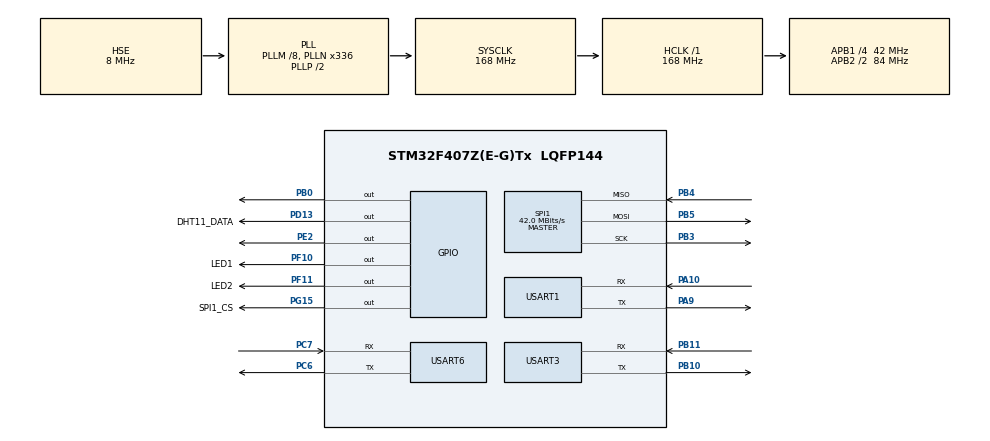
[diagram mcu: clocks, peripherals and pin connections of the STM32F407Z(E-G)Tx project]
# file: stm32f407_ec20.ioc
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Mcu.Family=STM32F4
Mcu.Name=STM32F407Z(E-G)Tx
Mcu.Package=LQFP144
NVIC.PriorityGroup=NVIC_PRIORITYGROUP_4
NVIC.USART1_IRQn=true\:0\:0\:false\:false\:true\:true\:true\:true
NVIC.USART3_IRQn=true\:0\:0\:false\:false\:true\:true\:true\:true
NVIC.USART6_IRQn=true\:0\:0\:false\:false\:true\:true\:true\:true
PA10.Mode=Asynchronous
PA10.Signal=USART1_RX
PA13.Mode=Serial_Wire
PA13.Signal=SYS_JTMS-SWDIO
PA14.Mode=Serial_Wire
PA14.Signal=SYS_JTCK-SWCLK
PA9.Mode=Asynchronous
PA9.Signal=USART1_TX
PB0.Signal=GPIO_Output
PB10.Mode=Asynchronous
PB10.Signal=USART3_TX
PB11.Mode=Asynchronous
PB11.Signal=USART3_RX
PB3.Mode=Full_Duplex_Master
PB3.Signal=SPI1_SCK
PB4.Mode=Full_Duplex_Master
PB4.Signal=SPI1_MISO
PB5.Mode=Full_Duplex_Master
PB5.Signal=SPI1_MOSI
PC6.Mode=Asynchronous
PC6.Signal=USART6_TX
PC7.Mode=Asynchronous
PC7.Signal=USART6_RX
PD13.GPIO_Label=DHT11_DATA
PD13.Signal=GPIO_Output
PE2.GPIO_PuPd=GPIO_PULLUP
PE2.Signal=GPIO_Output
PF10.GPIO_Label=LED1
PF10.Signal=GPIO_Output
PF11.GPIO_Label=LED2
PF11.Signal=GPIO_Output
PG15.GPIO_Label=SPI1_CS
PG15.Signal=GPIO_Output
PH0-OSC_IN.Mode=HSE-External-Oscillator
PH0-OSC_IN.Signal=RCC_OSC_IN
PH1-OSC_OUT.Mode=HSE-External-Oscillator
PH1-OSC_OUT.Signal=RCC_OSC_OUT
ProjectManager.HeapSize=0x1200
ProjectManager.StackSize=0x1400
ProjectManager.TargetToolchain=MDK-ARM V5
RCC.48MHZClocksFreq_Value=84000000
RCC.AHBFreq_Value=168000000
RCC.APB1CLKDivider=RCC_HCLK_DIV4
RCC.APB1Freq_Value=42000000
RCC.APB1TimFreq_Value=84000000
RCC.APB2CLKDivider=RCC_HCLK_DIV2
RCC.APB2Freq_Value=84000000
RCC.APB2TimFreq_Value=168000000
RCC.CortexFreq_Value=168000000
RCC.HCLKFreq_Value=168000000
RCC.HSE_VALUE=8000000
RCC.HSI_VALUE=16000000
RCC.LSE_VALUE=32768
RCC.PLLM=8
RCC.PLLN=336
RCC.PLLSourceVirtual=RCC_PLLSOURCE_HSE
RCC.SYSCLKFreq_VALUE=168000000
RCC.SYSCLKSource=RCC_SYSCLKSOURCE_PLLCLK
RCC.VCOOutputFreq_Value=336000000
RTC.Format=RTC_FORMAT_BIN
SPI1.CalculateBaudRate=42.0 MBits/s
SPI1.Direction=SPI_DIRECTION_2LINES
SPI1.Mode=SPI_MODE_MASTER
SPI1.VirtualType=VM_MASTER
USART1.VirtualMode=VM_ASYNC
USART3.VirtualMode=VM_ASYNC
USART6.VirtualMode=VM_ASYNC
VP_RTC_VS_RTC_Activate.Mode=RTC_Enabled
VP_RTC_VS_RTC_Calendar.Mode=RTC_Calendar
board=custom

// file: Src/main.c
/* USER CODE BEGIN Header */
/**
  ******************************************************************************
  * @file           : main.c
  * @brief          : Main program body
  ******************************************************************************
  * @attention
  *
  * Copyright (c) 2023 STMicroelectronics.
  * All rights reserved.
  *
  * This software is licensed under terms that can be found in the LICENSE file
  * in the root directory of this software component.
  * If no LICENSE file comes with this software, it is provided AS-IS.
  *
  ******************************************************************************
  */
/* USER CODE END Header */
#include "main.h"
#include "rtc.h"
#include "spi.h"
#include "usart.h"
#include "gpio.h"
#include "string.h"
#include "stdio.h"

/* USER CODE BEGIN Includes */
#include "log.h"
#include "bsp_usart.h"
#include "bsp_timer.h"
#include "debug_config.h"
#include "module_config.h"
#include "rs485_config.h"

#include "app_dht11.h"
#include "w25qxx.h"
#include "bsp_rtc.h"
#include "ec20_network.h"
#include "ec20_mqtt.h"
#include "app_pub_onenet.h"
#include "app_server.h"
#include "app_tlsf.h"
/*测试*/
#include "ec20_lib.h"
#include "app_gather.h"
/* USER CODE END Includes */

void SystemClock_Config(void);

/* USER CODE BEGIN 0 */
void led_process(){

	HAL_Delay(1);
	static uint16_t cnt1=0;
		cnt1++;

		if(cnt1==500){
			cnt1=0;
			HAL_GPIO_TogglePin(GPIOF, GPIO_PIN_10);
		}

}

//#define MEM_POLL_SIZE	(1024*5)
//uint8_t g_malloc_mem_pool[MEM_POLL_SIZE];

#include "cJSON.h"
#include "tlsf.h"
/* USER CODE END 0 */

int main(void)
{

  /* MCU Configuration--------------------------------------------------------*/

  /* Reset of all peripherals, Initializes the Flash interface and the Systick. */
  HAL_Init();

  /* Configure the system clock */
  SystemClock_Config();

  /* Initialize all configured peripherals */
  MX_GPIO_Init();
  MX_USART1_UART_Init();
  MX_USART3_UART_Init();
  MX_SPI1_Init();
  MX_RTC_Init();
  MX_USART6_UART_Init();
  /* USER CODE BEGIN 2 */

	debug_serialport_init();
	module_serialport_init();
	rs485_serialport_init();
	bsp_usart_init();
	ec20_app_network_init();
	log("正在初始化端口...");
	app_tlsf_init();

	app_cjson_init();

//	uint8_t  buff[10]={0x1F, 0x05, 0x00, 0x00, 0x00, 0x00, 0xCE, 0x74 };
//
//	rs485_write(buff, 8);
//

//	modbus_send_05h(0x1F, 0x0000, 0x0000);
//	if(app_dht11_init()){
//
//			log("dht11初始化成功");
//	}
//	app_upload_init();
//  app_gather_init();

//	W25QXX_Init();

// init_memory_pool(MEM_POLL_SIZE,g_malloc_mem_pool);
//
// log("内存池初始化完毕");
//
// log("内存池最大容量:%d",get_max_size(g_malloc_mem_pool));
// log("内存池可用容量:%d",get_used_size(g_malloc_mem_pool));

// for(int i=0;i<100;i++){
//
//	 char * data = tlsf_malloc(256);
//
//	 if(data){
//
//			sprintf(data,"hello yang le duo:%d",i);
//			log("data:[%s]",data);
//			tlsf_free(data);
//	 }
//
// }

//	cJSON_Hooks hooks;
//	hooks.free_fn=tlsf_free;
//	hooks.malloc_fn=tlsf_malloc;
//
//	cJSON_InitHooks(&hooks);

//

//	char * msg ="{\"leduo\":\"hahahaha\",\"lizi\":\"靓仔拉\",\"lizi_dick_length\":28}";//开始加key ,试试其他类型
//
//	char *test ="{\"id\":\"1001\",\"name\":\"晓春\",\"sex\":\"男\",\"hobby\":{\"hobby1\":\"游泳\",\"hobby2\":\"打篮球\"}}";

//	cJSON * root =  cJSON_Parse(test);//这一步是序列化，把字符串，序列化成json结构，也就是生成一个json类，之后就是json类那样处理了，就不是字符串了。

//	if(root){ //先要保证 parse 成功
//
//		//注意这个root，是最大的节点。
//
//		//这个方法，用来获取key，需要填他的父节点，因为json能嵌套
//		cJSON * ld = cJSON_GetObjectItemCaseSensitive(root,"id");//获取 key = leduo 的value
//		cJSON * lz = cJSON_GetObjectItemCaseSensitive(root,"name");//获取 key = leduo 的value
//		cJSON * lzl = cJSON_GetObjectItemCaseSensitive(root,"sex");//获取 key = leduo 的value
//		//假设你已经知道他是字符串。
//
//		//通过valuexxx 来获取他的值,注意先确认是否为null
//
//		if(!cJSON_IsNull(ld) && cJSON_IsString(ld)){ //不为空，且是字符串
//
//			log("id:%s",ld->valuestring);
//
//
//		}
//
//		if(!cJSON_IsNull(lz) && cJSON_IsString(lz)){ //不为空，且是字符串
//
//			log("name:%s",lz->valuestring);
//
//		}
//
//		if(!cJSON_IsNull(lzl) && cJSON_IsString(lzl)){ //不为空，且是数字
//
//			log("sex:%s",lzl->valuestring);//用的value int了哦。
//
////			if(lzl->valueint==28){
////
////					//modbus_device_jy_do(1,1);
////			}
//
//		}
//
//
//		cJSON_Delete(root);//释放整个json结构。
//
//	}else{
//
//		log("parase error");
//	}

//	packet_data_test();
  /* USER CODE END 2 */

  /* Infinite loop */
  /* USER CODE BEGIN WHILE */
  while (1)
  {

		debug_serialport_msg_process();
		module_msg_process();
		rs485_serialport_process();

		ec20_app_network_process();
		ec20_app_mqtt_process();
//
//		app_dht11_process();
		led_process();

//		app_gather_process();
//		app_upload_process();

    /* USER CODE END WHILE */

  }
}

void SystemClock_Config(void)
{
  RCC_OscInitTypeDef RCC_OscInitStruct = {0};
  RCC_ClkInitTypeDef RCC_ClkInitStruct = {0};

  /** Configure the main internal regulator output voltage
  */
  __HAL_RCC_PWR_CLK_ENABLE();
  __HAL_PWR_VOLTAGESCALING_CONFIG(PWR_REGULATOR_VOLTAGE_SCALE1);

  /** Initializes the RCC Oscillators according to the specified parameters
  * in the RCC_OscInitTypeDef structure.
  */
  RCC_OscInitStruct.OscillatorType = RCC_OSCILLATORTYPE_LSI|RCC_OSCILLATORTYPE_HSE;
  RCC_OscInitStruct.HSEState = RCC_HSE_ON;
  RCC_OscInitStruct.LSIState = RCC_LSI_ON;
  RCC_OscInitStruct.PLL.PLLState = RCC_PLL_ON;
  RCC_OscInitStruct.PLL.PLLSource = RCC_PLLSOURCE_HSE;
  RCC_OscInitStruct.PLL.PLLM = 8;
  RCC_OscInitStruct.PLL.PLLN = 336;
  RCC_OscInitStruct.PLL.PLLP = RCC_PLLP_DIV2;
  RCC_OscInitStruct.PLL.PLLQ = 4;
  if (HAL_RCC_OscConfig(&RCC_OscInitStruct) != HAL_OK)
  {
    Error_Handler();
  }

  /** Initializes the CPU, AHB and APB buses clocks
  */
  RCC_ClkInitStruct.ClockType = RCC_CLOCKTYPE_HCLK|RCC_CLOCKTYPE_SYSCLK
                              |RCC_CLOCKTYPE_PCLK1|RCC_CLOCKTYPE_PCLK2;
  RCC_ClkInitStruct.SYSCLKSource = RCC_SYSCLKSOURCE_PLLCLK;
  RCC_ClkInitStruct.AHBCLKDivider = RCC_SYSCLK_DIV1;
  RCC_ClkInitStruct.APB1CLKDivider = RCC_HCLK_DIV4;
  RCC_ClkInitStruct.APB2CLKDivider = RCC_HCLK_DIV2;

  if (HAL_RCC_ClockConfig(&RCC_ClkInitStruct, FLASH_LATENCY_5) != HAL_OK)
  {
    Error_Handler();
  }
}

void Error_Handler(void)
{
  __disable_irq();
  while (1)
  {
  }
}
